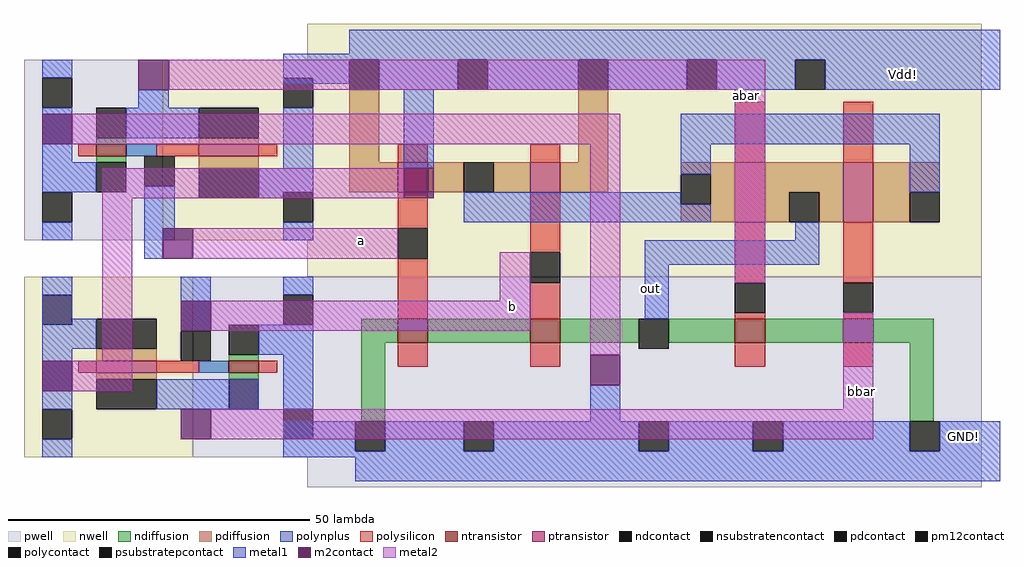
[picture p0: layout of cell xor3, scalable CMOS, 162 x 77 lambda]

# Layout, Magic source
magic
tech scmos
<< nwell >>
rect -13 -30 99 12
<< pwell >>
rect -13 -65 99 -30
<< ntransistor >>
rect 2 -41 7 -37
rect 24 -41 29 -37
rect 58 -41 63 -37
rect 76 -41 81 -37
<< ptransistor >>
rect 2 -16 7 -11
rect 24 -16 29 -11
rect 58 -21 63 -11
rect 76 -21 81 -11
<< ndiffusion >>
rect -4 -41 2 -37
rect 7 -41 24 -37
rect 29 -41 42 -37
rect -4 -54 0 -41
rect 47 -41 58 -37
rect 63 -41 76 -37
rect 81 -41 91 -37
rect 87 -54 91 -41
<< pdiffusion >>
rect -6 -11 -1 1
rect 32 -11 37 1
rect -6 -16 2 -11
rect 7 -16 13 -11
rect 18 -16 24 -11
rect 29 -16 37 -11
rect 49 -13 58 -11
rect 54 -18 58 -13
rect 49 -21 58 -18
rect 63 -16 76 -11
rect 63 -21 67 -16
rect 72 -21 76 -16
rect 81 -16 92 -11
rect 81 -21 87 -16
<< ndcontact >>
rect 42 -42 47 -37
rect -5 -59 0 -54
rect 87 -59 92 -54
<< pdcontact >>
rect -6 1 -1 6
rect 12 1 17 6
rect 32 1 37 6
rect 50 1 55 6
rect 68 1 73 6
rect 13 -16 18 -11
rect 49 -18 54 -13
rect 67 -21 72 -16
rect 87 -21 92 -16
<< psubstratepcontact >>
rect 13 -59 18 -54
rect 42 -59 47 -54
rect 61 -59 66 -54
<< polysilicon >>
rect 2 -11 7 -8
rect 24 -11 29 -8
rect 58 -11 63 -1
rect 76 -11 81 -1
rect 2 -22 7 -16
rect 2 -37 7 -27
rect 24 -26 29 -16
rect 24 -37 29 -31
rect 58 -31 63 -21
rect 58 -37 63 -36
rect 76 -31 81 -21
rect 76 -37 81 -36
rect 2 -45 7 -41
rect 24 -45 29 -41
rect 58 -45 63 -41
rect 76 -45 81 -41
<< metal1 >>
rect -6 7 102 11
rect -17 6 102 7
rect -17 2 -6 6
rect -1 1 12 6
rect 17 1 32 6
rect 37 1 50 6
rect 55 1 68 6
rect 73 1 102 6
rect -41 -7 -36 1
rect 3 -12 8 1
rect 49 -8 92 -3
rect -40 -22 -35 -16
rect 49 -13 54 -8
rect 13 -18 49 -16
rect 87 -16 92 -8
rect 13 -21 54 -18
rect -40 -27 -37 -22
rect 68 -24 72 -21
rect 43 -28 72 -24
rect -57 -44 -52 -31
rect 43 -37 47 -28
rect -26 -52 -21 -47
rect 34 -54 39 -48
rect -17 -59 -5 -54
rect 0 -59 13 -54
rect 18 -59 42 -54
rect 47 -59 61 -54
rect 66 -59 87 -54
rect 92 -59 102 -54
rect -17 -60 102 -59
rect -5 -64 102 -60
<< m2contact >>
rect -41 1 -36 6
rect -57 -8 -52 -3
rect 3 -17 8 -12
rect -37 -27 -32 -22
rect -34 -39 -29 -34
rect -57 -49 -52 -44
rect 34 -48 39 -43
rect -34 -57 -29 -52
<< pm12contact >>
rect 2 -27 7 -22
rect 24 -31 29 -26
rect 58 -36 63 -31
rect 76 -36 81 -31
<< metal2 >>
rect -36 1 63 6
rect -52 -8 39 -3
rect -47 -17 3 -12
rect -47 -44 -42 -17
rect -32 -27 2 -22
rect 19 -34 24 -26
rect -29 -39 24 -34
rect -52 -49 -42 -44
rect 34 -43 39 -8
rect 58 -31 63 1
rect 76 -52 81 -36
rect -29 -57 81 -52
use inv  inv_0
transform 0 1 -53 1 0 -15
box -9 -7 21 44
use inv  inv_1
transform 0 -1 -16 -1 0 -39
box -9 -7 21 44
<< labels >>
rlabel metal1 92 -59 100 -54 8 GND!
rlabel metal1 73 1 99 6 5 Vdd!
rlabel metal2 79 -49 79 -49 1 bbar
rlabel metal2 60 0 60 0 1 abar
rlabel metal2 21 -35 21 -35 1 b
rlabel metal2 -4 -24 -4 -24 1 a
rlabel metal1 44 -32 44 -32 1 out
<< end >>

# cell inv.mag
magic
tech scmos
<< nwell >>
rect -9 16 21 44
<< pwell >>
rect -9 -7 21 16
<< ntransistor >>
rect 5 5 7 10
<< ptransistor >>
rect 5 22 7 32
<< ndiffusion >>
rect 4 5 5 10
rect 7 5 8 10
<< pdiffusion >>
rect 3 22 5 32
rect 7 22 8 32
<< ndcontact >>
rect -1 5 4 10
rect 8 5 13 10
<< pdcontact >>
rect -2 22 3 32
rect 8 22 13 32
<< psubstratepcontact >>
rect -6 -4 -1 1
rect 13 -4 18 1
<< nsubstratencontact >>
rect -6 36 -1 41
rect 13 36 18 41
<< polysilicon >>
rect 5 32 7 35
rect 5 15 7 22
rect 5 2 7 5
<< polycontact >>
rect 0 13 5 18
<< polynplus >>
rect 5 10 7 15
<< metal1 >>
rect -9 36 -6 41
rect -1 36 13 41
rect 18 36 21 41
rect -2 32 3 36
rect -9 13 0 18
rect 8 10 13 22
rect -1 1 4 5
rect -9 -4 -6 1
rect -1 -4 13 1
rect 18 -4 21 1
<< labels >>
rlabel metal1 -7 14 -7 14 3 in
rlabel metal1 9 15 9 15 1 out
rlabel metal1 1 39 1 39 5 Vdd!
rlabel metal1 2 -3 2 -3 1 GND!
<< end >>
